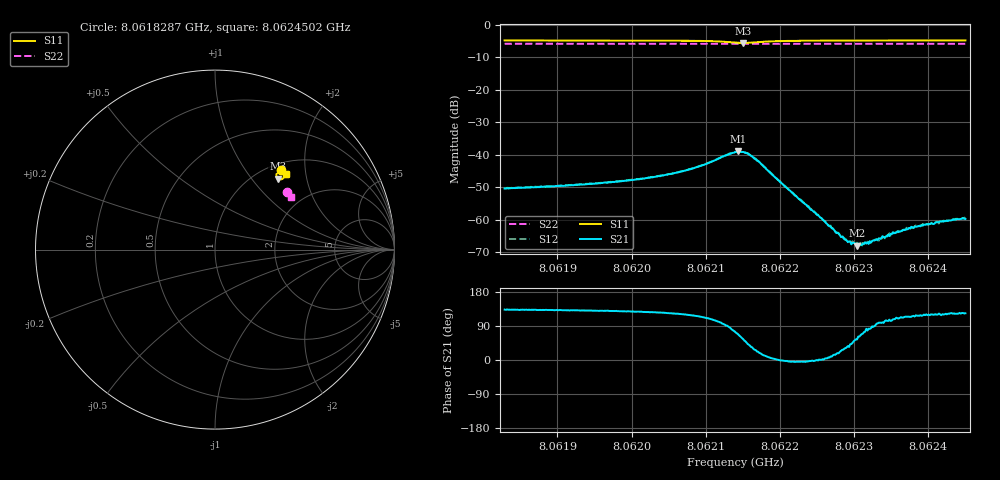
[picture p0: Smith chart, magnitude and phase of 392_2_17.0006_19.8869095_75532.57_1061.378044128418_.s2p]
#  HZ  S  RI  R  50.00
! Rohde & Schwarz Vector Network Analyzer
! Rohde-Schwarz,ZNB20-2Port,1311601062101988,3.16
! Created: UTC 3/20/2024, 11:09:41 PM
! freq[Hz]  re:S11  im:S11  re:S21  im:S21  re:S12  im:S12  re:S22  im:S22
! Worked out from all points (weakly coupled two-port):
!   401 points, 8.0618287 GHz to 8.0624502 GHz, reference 50 ohm
!   highest |S21| = -38.92 dB at 8.0621441 GHz (marker M1); lowest = -67.9 dB at 8.0623041 GHz (marker M2)
!   lowest |S11| = -5.5 dB at 8.0621503 GHz (marker M3), VSWR 3.24, Z = 62.3 + j68.3 ohm
!   |S11| at or under -10 dB: nowhere
!   |S22| runs from -5.9 to -5.8 dB; largest |S21 - S12| = 0.0008
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8.06182867e9  0.366 0.4448  -0.00207 0.00223  -0.00194 0.00241  0.3986 0.3219
8.06193277e9  0.3734 0.4383  -0.00229 0.00265  -0.00215 0.00281  0.4027 0.3167
8.06198404e9  0.3771 0.4344  -0.00244 0.00307  -0.0023 0.00322  0.4046 0.3141
8.06203687e9  0.3818 0.4288  -0.00272 0.00386  -0.00252 0.00405  0.4066 0.3113
8.06208503e9  0.386 0.4185  -0.00285 0.00566  -0.00254 0.00583  0.4082 0.3085
8.06213941e9  0.3657 0.3906  0.00294 0.0107  0.00357 0.0105  0.4088 0.3049
8.06214407e9  0.3588 0.3912  0.00448 0.0104  0.00507 0.0101  0.4086 0.3048
8.06215029e9  0.35 0.3954  0.00633 0.00913  0.007 0.00873  0.4086 0.305
8.06215961e9  0.3421 0.4074  0.00785 0.00608  0.00821 0.00562  0.4088 0.3051
8.06217359e9  0.3446 0.4243  0.00715 0.00229  0.00718 0.00186  0.4094 0.3052
8.06220311e9  0.3604 0.4353  0.00361 -0.000101  0.00361 -0.000303  0.4113 0.3041
8.06224351e9  0.3725 0.4345  0.00141 -3.69e-05  0.00139 -0.000155  0.4133 0.3018
8.06228857e9  0.3794 0.4315  0.000424 0.000257  0.000446 0.000243  0.415 0.2995
8.06229478e9  0.3801 0.4311  0.000345 0.000306  0.000376 0.000281  0.4151 0.2991
8.06230411e9  0.3812 0.4305  0.000235 0.000328  0.000242 0.000374  0.4157 0.2987
8.06231032e9  0.3819 0.43  0.000156 0.000392  0.00016 0.000361  0.4157 0.2983
8.0623243e9  0.3833 0.4292  9.84e-06 0.000471  7.18e-05 0.000465  0.4163 0.2976
8.06234761e9  0.3854 0.4277  -0.000161 0.000541  -0.000141 0.000608  0.4171 0.2962
8.06235538e9  0.386 0.4272  -0.000197 0.000596  -0.000163 0.000614  0.4174 0.296
8.06238024e9  0.3879 0.4258  -0.000336 0.000673  -0.00026 0.00071  0.4184 0.2947
8.06241597e9  0.3906 0.4237  -0.000485 0.000818  -0.000444 0.00085  0.4196 0.2926
8.06245015e9  0.3928 0.4217  -0.000568 0.000865  -0.000548 0.000952  0.4208 0.2911
